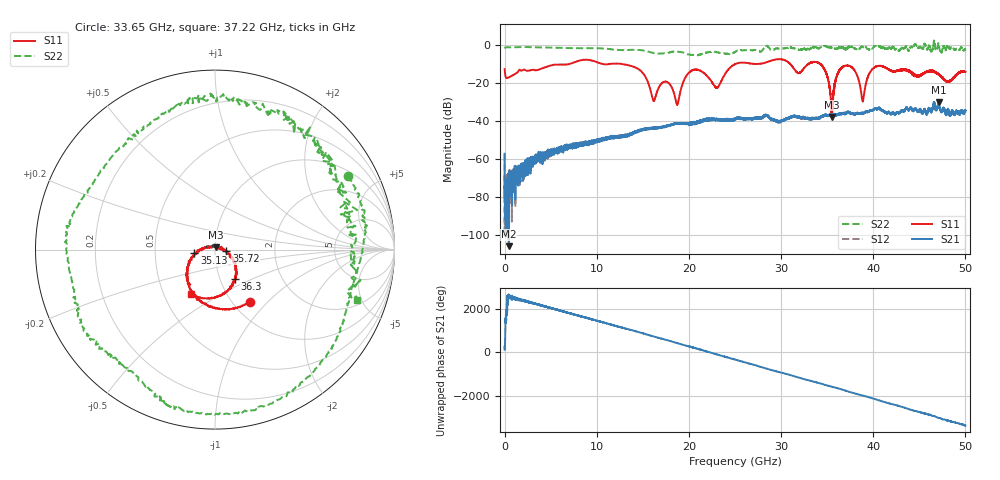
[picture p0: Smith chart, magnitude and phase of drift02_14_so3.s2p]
!Created with skrf (http://scikit-rf.org).
# Hz S RI R 50.0
!freq ReS11 ImS11 ReS21 ImS21 ReS12 ImS12 ReS22 ImS22
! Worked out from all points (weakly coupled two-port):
!   10001 points, 300 kHz to 50 GHz, reference 50 ohm
!   highest |S21| = -30.08 dB at 47.09 GHz (marker M1); lowest = -105.8 dB at 455.3 MHz (marker M2)
!   lowest |S11| = -38.0 dB at 35.51 GHz (marker M3), VSWR 1.03, Z = 50.4 + j1.21 ohm
!   |S11| at or under -10 dB: start of sweep to 7.176 GHz; 12.33 GHz to 25.16 GHz (12.84 GHz wide, 68.5 % of centre); 34.2 GHz to end of sweep (the widest 3 of 17)
!   |S22| runs from -5.7 to 2.1 dB; largest |S21 - S12| = 0.0029
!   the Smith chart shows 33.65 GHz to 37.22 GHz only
!   S11 on the Smith chart (normalised r, x): 33.65 GHz: 1.19, -0.79; 35.13 GHz: 0.79, -0.03; 35.72 GHz: 1.13, -0.02; 36.3 GHz: 1.18, -0.40; 37.22 GHz: 0.68, -0.37
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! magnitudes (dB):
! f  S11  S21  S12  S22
! 300 kHz  -13.0  -57.3  -57.3  -2.1
! 455.3 MHz  -17.2  -105.8  -74.4  -1.5
! 8.335 GHz  -8.2  -51.8  -52.8  -1.9
! 14.02 GHz  -11.7  -45.9  -46.2  -2.8
! 16.14 GHz  -29.3  -44.1  -44.1  -4.5
! 16.67 GHz  -23.2  -43.7  -43.7  -4.7
! 18.74 GHz  -31.5  -41.4  -41.7  -3.7
! 20.24 GHz  -13.8  -41.0  -41.6  -5.4
! 23.03 GHz  -22.7  -39.3  -39.3  -4.1
! 25 GHz  -10.3  -38.9  -39.1  -3.9
! 33.34 GHz  -9.3  -39.0  -38.8  -1.6
! 33.65 GHz  -9.1  -39.0  -38.5  -1.4
! 35.13 GHz  -18.7  -37.3  -37.1  -1.7
! 35.51 GHz  -38.0  -36.9  -36.9  -1.8
! 35.72 GHz  -24.0  -36.9  -36.6  -1.7
! 36.3 GHz  -14.0  -36.7  -36.3  -1.5
! 37.22 GHz  -11.0  -35.7  -35.4  -1.5
! 38.86 GHz  -29.8  -35.9  -36.1  -1.3
! 39.96 GHz  -12.7  -34.3  -34.3  -1.8
! 41.67 GHz  -13.0  -35.4  -35.7  -1.9
! 47.09 GHz  -15.5  -30.1  -30.3  0.7
! 50 GHz  -14.4  -34.5  -34.8  -2.6
